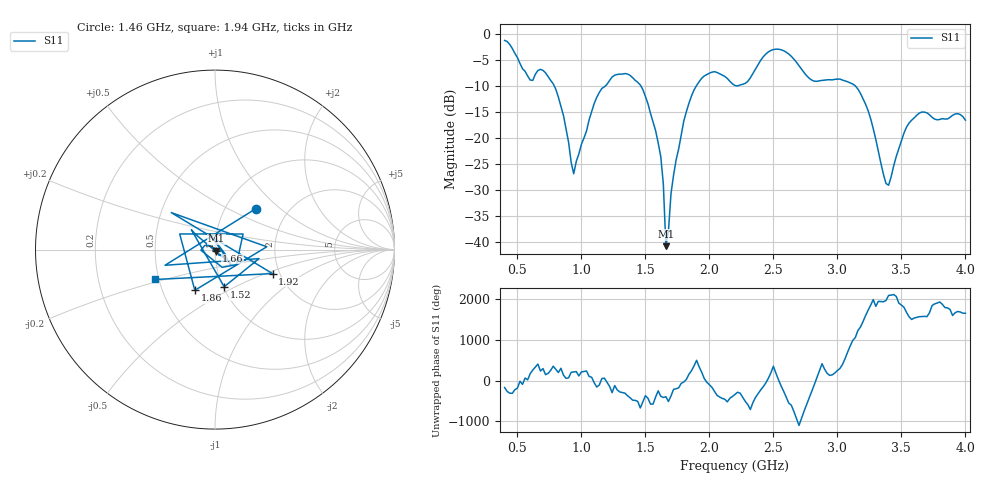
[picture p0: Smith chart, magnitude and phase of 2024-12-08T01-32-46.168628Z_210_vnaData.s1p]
!Created with skrf (http://scikit-rf.org).
# Hz S RI R 50.0
!freq ReS11 ImS11
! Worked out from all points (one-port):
!   181 points, 400 MHz to 4 GHz, reference 50 ohm
!   lowest |S11| = -40.7 dB at 1.66 GHz (marker M1), VSWR 1.02, Z = 50.7 - j0.555 ohm
!   |S11| at or under -10 dB: 787.6 MHz to 1.187 GHz (399.6 MHz wide, 40.5 % of centre); 1.464 GHz to 1.898 GHz (433.8 MHz wide, 25.8 % of centre); 3.141 GHz to end of sweep (the widest 3 of 4)
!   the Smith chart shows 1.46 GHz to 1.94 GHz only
!   S11 on the Smith chart (normalised r, x): 1.46 GHz: 1.38, +0.71; 1.52 GHz: 1.01, -0.44; 1.66 GHz: 1.01, -0.01; 1.86 GHz: 0.73, -0.35; 1.92 GHz: 1.83, -0.56; 1.94 GHz: 0.47, -0.18
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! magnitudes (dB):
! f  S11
! 400 MHz  -1.3
! 600 MHz  -8.9
! 720 MHz  -7.5
! 860 MHz  -15.7
! 940 MHz  -26.9
! 1.12 GHz  -12.2
! 1.3 GHz  -7.7
! 1.46 GHz  -9.8
! 1.52 GHz  -13.4
! 1.62 GHz  -23.6
! 1.64 GHz  -28.8
! 1.66 GHz  -40.7
! 1.68 GHz  -37.9
! 1.7 GHz  -30.7
! 1.76 GHz  -22.1
! 1.86 GHz  -11.9
! 1.92 GHz  -9.2
! 1.94 GHz  -8.5
! 2.2 GHz  -9.9
! 2.48 GHz  -3.2
! 2.66 GHz  -4.9
! 2.82 GHz  -9.1
! 3.1 GHz  -9.4
! 3.24 GHz  -14.7
! 3.38 GHz  -28.7
! 3.56 GHz  -17.1
! 3.66 GHz  -15.0
! 4 GHz  -16.6
